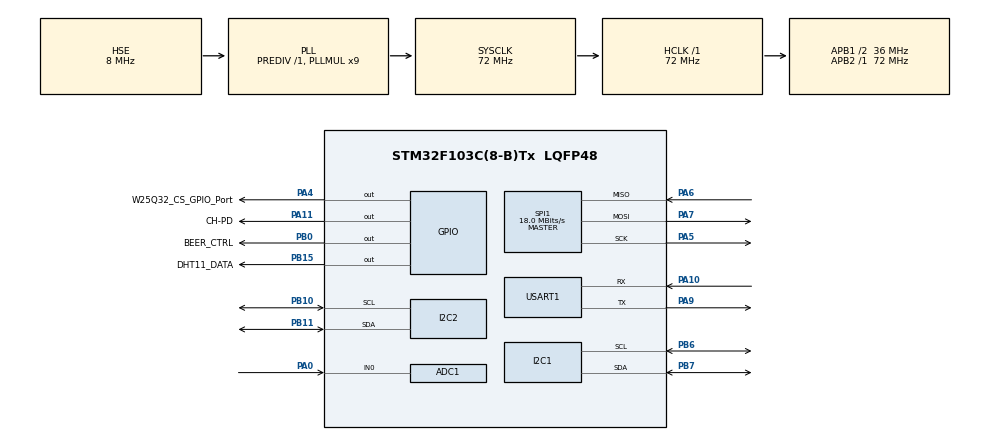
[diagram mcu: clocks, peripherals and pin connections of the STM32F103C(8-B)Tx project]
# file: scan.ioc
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ADC1.Channel-0\#ChannelRegularConversion=ADC_CHANNEL_0
ADC1.ContinuousConvMode=ENABLE
ADC1.NbrOfConversionFlag=1
ADC1.Rank-0\#ChannelRegularConversion=1
ADC1.SamplingTime-0\#ChannelRegularConversion=ADC_SAMPLETIME_55CYCLES_5
ADC1.master=1
Dma.ADC1.0.Direction=DMA_PERIPH_TO_MEMORY
Dma.ADC1.0.Instance=DMA1_Channel1
Dma.ADC1.0.MemDataAlignment=DMA_MDATAALIGN_HALFWORD
Dma.ADC1.0.MemInc=DMA_MINC_ENABLE
Dma.ADC1.0.Mode=DMA_CIRCULAR
Dma.ADC1.0.PeriphDataAlignment=DMA_PDATAALIGN_HALFWORD
Dma.ADC1.0.PeriphInc=DMA_PINC_DISABLE
Dma.ADC1.0.Priority=DMA_PRIORITY_LOW
Dma.Request0=ADC1
Mcu.Family=STM32F1
Mcu.Name=STM32F103C(8-B)Tx
Mcu.Package=LQFP48
NVIC.DMA1_Channel1_IRQn=true\:0\:0\:false\:false\:true\:false\:true\:true
NVIC.PriorityGroup=NVIC_PRIORITYGROUP_4
PA0-WKUP.Signal=ADCx_IN0
PA10.Mode=Asynchronous
PA10.Signal=USART1_RX
PA11.GPIO_Label=CH-PD
PA11.GPIO_ModeDefaultOutputPP=GPIO_MODE_OUTPUT_OD
PA11.GPIO_PuPd=GPIO_NOPULL
PA11.GPIO_Speed=GPIO_SPEED_FREQ_MEDIUM
PA11.Signal=GPIO_Output
PA13.Mode=Serial_Wire
PA13.Signal=SYS_JTMS-SWDIO
PA14.Mode=Serial_Wire
PA14.Signal=SYS_JTCK-SWCLK
PA4.GPIO_Label=W25Q32_CS_GPIO_Port
PA4.GPIO_Speed=GPIO_SPEED_FREQ_MEDIUM
PA4.Signal=GPIO_Output
PA5.Mode=Full_Duplex_Master
PA5.Signal=SPI1_SCK
PA6.Mode=Full_Duplex_Master
PA6.Signal=SPI1_MISO
PA7.Mode=Full_Duplex_Master
PA7.Signal=SPI1_MOSI
PA9.Mode=Asynchronous
PA9.Signal=USART1_TX
PB0.GPIO_Label=BEER_CTRL
PB0.GPIO_ModeDefaultOutputPP=GPIO_MODE_OUTPUT_OD
PB0.GPIO_PuPd=GPIO_NOPULL
PB0.Signal=GPIO_Output
PB10.Mode=I2C
PB10.Signal=I2C2_SCL
PB11.Mode=I2C
PB11.Signal=I2C2_SDA
PB15.GPIO_Label=DHT11_DATA
PB15.GPIO_ModeDefaultOutputPP=GPIO_MODE_OUTPUT_OD
PB15.GPIO_PuPd=GPIO_NOPULL
PB15.GPIO_Speed=GPIO_SPEED_FREQ_MEDIUM
PB15.Signal=GPIO_Output
PB6.Mode=I2C
PB6.Signal=I2C1_SCL
PB7.Mode=I2C
PB7.Signal=I2C1_SDA
PD0-OSC_IN.Mode=HSE-External-Oscillator
PD0-OSC_IN.Signal=RCC_OSC_IN
PD1-OSC_OUT.Mode=HSE-External-Oscillator
PD1-OSC_OUT.Signal=RCC_OSC_OUT
ProjectManager.HeapSize=0x200
ProjectManager.StackSize=0x400
ProjectManager.TargetToolchain=MDK-ARM V5.32
RCC.ADCPresc=RCC_ADCPCLK2_DIV6
RCC.AHBFreq_Value=72000000
RCC.APB1CLKDivider=RCC_HCLK_DIV2
RCC.APB1Freq_Value=36000000
RCC.APB1TimFreq_Value=72000000
RCC.APB2Freq_Value=72000000
RCC.APB2TimFreq_Value=72000000
RCC.HCLKFreq_Value=72000000
RCC.PLLMUL=RCC_PLL_MUL9
RCC.PLLSourceVirtual=RCC_PLLSOURCE_HSE
RCC.SYSCLKFreq_VALUE=72000000
RCC.SYSCLKSource=RCC_SYSCLKSOURCE_PLLCLK
RCC.USBFreq_Value=72000000
SH.ADCx_IN0.0=ADC1_IN0,IN0
SPI1.BaudRatePrescaler=SPI_BAUDRATEPRESCALER_4
SPI1.CRCCalculation=SPI_CRCCALCULATION_DISABLE
SPI1.CalculateBaudRate=18.0 MBits/s
SPI1.Direction=SPI_DIRECTION_2LINES
SPI1.Mode=SPI_MODE_MASTER
SPI1.VirtualType=VM_MASTER
USART1.VirtualMode=VM_ASYNC
board=custom

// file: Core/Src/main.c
/* USER CODE BEGIN Header */
/**
  ******************************************************************************
  * @file           : main.c
  * @brief          : Main program body
  ******************************************************************************
  * @attention
  *
  * Copyright (c) 2026 STMicroelectronics.
  * All rights reserved.
  *
  * This software is licensed under terms that can be found in the LICENSE file
  * in the root directory of this software component.
  * If no LICENSE file comes with this software, it is provided AS-IS.
  *
  ******************************************************************************
  */
/* USER CODE END Header */
/*
 * ============================================================================
 * 文件: main.c —— 主程序入口(基于 STM32CubeMX 生成, 用户代码在 USER CODE 区内)
 * 功能: 1) 重定位向量表到 0x08004000(IAP 运行在 Bootloader 之后);
 *       2) 初始化时钟/外设/OLED/传感器/ESP8266;
 *       3) 校验并写入 EEPROM 出厂信息;
 *       4) 创建 FreeRTOS 任务并启动调度器。
 * 注意: App_SetVectorTable() 必须是 main() 的第一条语句, 否则中断向量会错。
 * ============================================================================
 */
#include "main.h"
#include "adc.h"
#include "dma.h"
#include "i2c.h"
#include "spi.h"
#include "usart.h"
#include "gpio.h"

/* USER CODE BEGIN Includes */
#include "app_tasks.h"
#include "BH1750.h"
#include "Dht11.h"
#include "MQ_2.h"
#include "OLED.h"
#include "ESP8266.h"
#include "Int_w24c02.h"
#include "storage_map.h"
#include "iap.h"
#include "app_hooks.h"

/* USER CODE END Includes */

void SystemClock_Config(void);

int main(void)
{

  /* USER CODE BEGIN 1 */
  /* IAP: app is linked at 0x08004000; relocate the vector table before any interrupt (incl. SysTick) is enabled */
  App_SetVectorTable();

  /* USER CODE END 1 */

  /* MCU Configuration--------------------------------------------------------*/

  /* Reset of all peripherals, Initializes the Flash interface and the Systick. */
  HAL_Init();

  /* Start the independent watchdog ASAP (same parameters as the bootloader) */
  App_Watchdog_Init();

  /* Configure the system clock */
  SystemClock_Config();

  /* Initialize all configured peripherals */
  MX_GPIO_Init();
  MX_DMA_Init();
  MX_ADC1_Init();
  MX_I2C1_Init();
  MX_USART1_UART_Init();
  MX_I2C2_Init();
  MX_SPI1_Init();
  /* USER CODE BEGIN 2 */
  /* W25Q32 片选与 ESP8266 使能(CH-PD)置高, OLED/传感器初始化 */
  HAL_GPIO_WritePin(W25Q32_CS_GPIO_Port_GPIO_Port, W25Q32_CS_GPIO_Port_Pin, GPIO_PIN_SET);
  HAL_GPIO_WritePin(CH_PD_GPIO_Port, CH_PD_Pin, GPIO_PIN_SET);
  OLED_Init();
  BH1750_init();
  dht11_init();
  /* 启动 ADC1+DMA 循环采样(MQ-2 烟雾), 并挂接 ESP8266 串口空闲接收 */
  if (HAL_ADC_Start_DMA(&hadc1, (uint32_t *)adc_dma_buf, MQ_SAMPLE_NUM) != HAL_OK)
  {
    Error_Handler();
  }
  HAL_UARTEx_ReceiveToIdle_IT(&ESP_USART_HANDLE, esp_rx_buf, ESP_RX_BUF_LEN);

  uint8_t flag = Int_w24c02_read_byte(ADDR_EEPROM_INIT_FLAG);
  /* 首次上电(EEPROM 未初始化)时, 把当前固件版本写入 EEPROM,
     并写初始化标记 0xAA, 保证版本号只写一次 */
  if (flag != 0xAA)
  {
    W24C02_WriteByte(ADDR_FW_VER_MAJOR, FW_VER_MAJOR);
    W24C02_WriteByte(ADDR_FW_VER_MINOR, FW_VER_MINOR);
    W24C02_WriteByte(ADDR_FW_INIT_FLAG, 0xAA);
  }

  /* 创建各 FreeRTOS 任务(采集/显示/报警/上传/OTA) */
  AppTasks_Create();
  /* 启动调度器: 此后由任务接管, 本函数不返回 */
  /* USER CODE END 2 */

  /* Infinite loop */
  while (1)
  {

  }
}

void SystemClock_Config(void)
{
  RCC_OscInitTypeDef RCC_OscInitStruct = {0};
  RCC_ClkInitTypeDef RCC_ClkInitStruct = {0};
  RCC_PeriphCLKInitTypeDef PeriphClkInit = {0};

  /** Initializes the RCC Oscillators according to the specified parameters
  * in the RCC_OscInitTypeDef structure.
  */
  RCC_OscInitStruct.OscillatorType = RCC_OSCILLATORTYPE_HSE;
  RCC_OscInitStruct.HSEState = RCC_HSE_ON;
  RCC_OscInitStruct.HSEPredivValue = RCC_HSE_PREDIV_DIV1;
  RCC_OscInitStruct.HSIState = RCC_HSI_ON;
  RCC_OscInitStruct.PLL.PLLState = RCC_PLL_ON;
  RCC_OscInitStruct.PLL.PLLSource = RCC_PLLSOURCE_HSE;
  RCC_OscInitStruct.PLL.PLLMUL = RCC_PLL_MUL9;
  if (HAL_RCC_OscConfig(&RCC_OscInitStruct) != HAL_OK)
  {
    Error_Handler();
  }

  /** Initializes the CPU, AHB and APB buses clocks
  */
  RCC_ClkInitStruct.ClockType = RCC_CLOCKTYPE_HCLK|RCC_CLOCKTYPE_SYSCLK
                              |RCC_CLOCKTYPE_PCLK1|RCC_CLOCKTYPE_PCLK2;
  RCC_ClkInitStruct.SYSCLKSource = RCC_SYSCLKSOURCE_PLLCLK;
  RCC_ClkInitStruct.AHBCLKDivider = RCC_SYSCLK_DIV1;
  RCC_ClkInitStruct.APB1CLKDivider = RCC_HCLK_DIV2;
  RCC_ClkInitStruct.APB2CLKDivider = RCC_HCLK_DIV1;

  if (HAL_RCC_ClockConfig(&RCC_ClkInitStruct, FLASH_LATENCY_2) != HAL_OK)
  {
    Error_Handler();
  }
  PeriphClkInit.PeriphClockSelection = RCC_PERIPHCLK_ADC;
  PeriphClkInit.AdcClockSelection = RCC_ADCPCLK2_DIV6;
  if (HAL_RCCEx_PeriphCLKConfig(&PeriphClkInit) != HAL_OK)
  {
    Error_Handler();
  }
}

void Error_Handler(void)
{
  __disable_irq();
  while (1)
  {
  }
}
